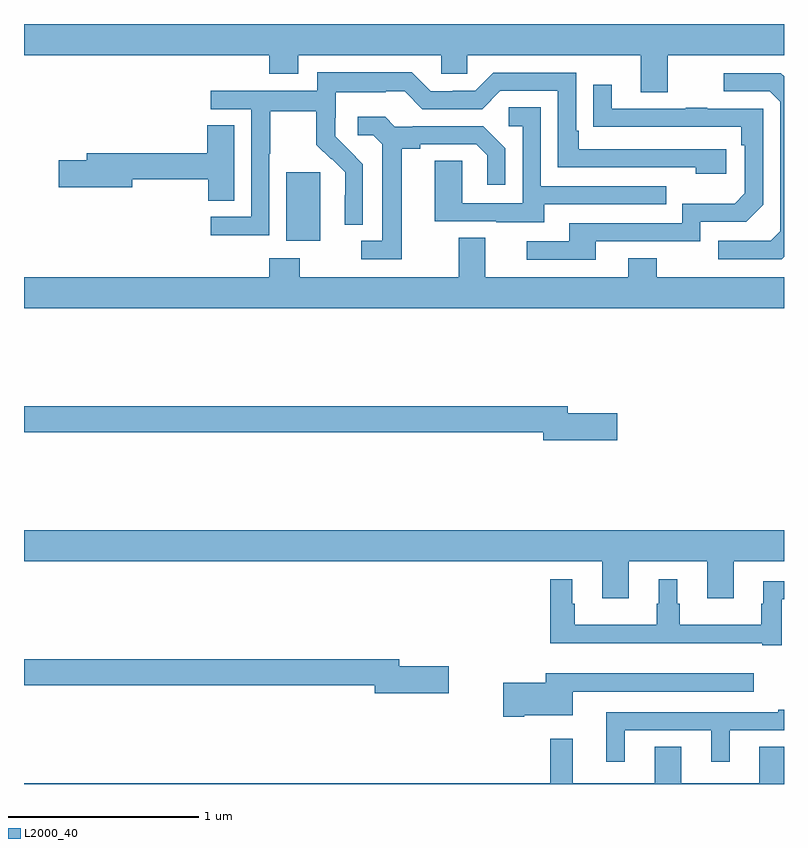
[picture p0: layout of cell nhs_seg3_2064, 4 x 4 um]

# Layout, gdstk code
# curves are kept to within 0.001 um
import gdstk
lib = gdstk.Library(unit=1e-6, precision=1e-09)
def R(c, l, rs):  # rectangles x0, y0, x1, y1
    for r in rs: c.add(gdstk.rectangle(r[:2], r[2:], *l))
def P(c, l, *ps):  # polygons
    for p in ps: c.add(gdstk.Polygon(p, *l))
L2000_40 = (2000, 40)

nhs_seg3_2064 = lib.new_cell('nhs_seg3_2064')
R(nhs_seg3_2064, L2000_40, [(218.381,713.258,218.56,713.619)])
P(nhs_seg3_2064, L2000_40, [(220.387,714.236),(221,714.236),(221,714.4),(217,714.4),(217,714.236),(218.291,714.236),(218.291,714.137),(218.443,714.137),(218.443,714.236),(219.195,714.236),(219.195,714.138),(219.333,714.138),(219.333,714.236),(220.247,714.236),(220.247,714.042),(220.387,714.042)],
  [(218.292,713.716),(218.295,713.716),(218.295,713.94),(218.539,713.94),(218.539,713.765),(218.616,713.688),(218.619,713.691),(218.69,713.621),(218.69,713.498),(218.688,713.498),(218.688,713.344),(218.784,713.344),(218.784,713.662),(218.638,713.81),(218.638,713.907),(218.64,713.907),(218.64,714.041),(218.903,714.041),(218.903,714.045),(219.003,714.045),(219.096,713.952),(219.411,713.952),(219.507,714.048),(219.81,714.048),(219.81,713.646),(220.535,713.646),(220.535,713.612),(220.696,713.612),(220.696,713.742),(219.919,713.742),(219.919,713.839),(219.906,713.839),(219.906,714.144),(219.471,714.144),(219.375,714.048),(219.257,714.048),(219.257,714.045),(219.141,714.045),(219.041,714.145),(218.544,714.145),(218.544,714.048),(217.983,714.048),(217.983,713.952),(218.196,713.952),(218.196,713.385),(217.983,713.385),(217.983,713.287),(218.292,713.287)],
  [(221,713.174),(221,714.124),(220.983,714.141),(220.683,714.141),(220.683,714.045),(220.926,714.045),(220.98,713.991),(220.98,713.31),(220.929,713.259),(220.653,713.259),(220.653,713.163),(220.989,713.163)],
  [(220.009,713.256),(220.56,713.256),(220.56,713.358),(220.8,713.358),(220.89,713.448),(220.89,713.955),(220.595,713.955),(220.595,713.96),(220.483,713.96),(220.483,713.955),(220.093,713.955),(220.093,714.079),(219.997,714.079),(219.997,713.86),(220.774,713.859),(220.774,713.762),(220.794,713.762),(220.794,713.508),(220.741,713.455),(220.464,713.455),(220.464,713.352),(219.869,713.352),(219.869,713.256),(219.645,713.256),(219.645,713.16),(220.009,713.16)],
  [(219.739,713.451),(220.379,713.451),(220.379,713.547),(219.72,713.547),(219.72,713.963),(219.552,713.963),(219.552,713.862),(219.624,713.862),(219.624,713.457),(219.306,713.457),(219.306,713.681),(219.161,713.681),(219.161,713.361),(219.485,713.361),(219.485,713.357),(219.739,713.357)],
  [(218.989,713.744),(219.085,713.744),(219.085,713.766),(219.38,713.766),(219.437,713.709),(219.437,713.553),(219.534,713.553),(219.534,713.746),(219.418,713.862),(219.046,713.862),(219.046,713.859),(218.952,713.859),(218.9,713.911),(218.757,713.911),(218.757,713.814),(218.838,713.814),(218.885,713.767),(218.885,713.259),(218.775,713.259),(218.775,713.163),(218.989,713.163)],
  [(218.107,713.867),(217.964,713.867),(217.964,713.72),(217.331,713.72),(217.331,713.684),(217.182,713.684),(217.182,713.542),(217.57,713.542),(217.57,713.584),(217.969,713.584),(217.969,713.47),(218.107,713.47)],
  [(221,713.068),(220.329,713.068),(220.329,713.167),(220.181,713.167),(220.181,713.068),(219.427,713.068),(219.427,713.276),(219.287,713.276),(219.287,713.068),(218.451,713.068),(218.451,713.167),(218.291,713.167),(218.291,713.068),(217,713.068),(217,712.904),(221,712.904)],
  [(220.123,712.352),(219.862,712.352),(219.862,712.388),(217,712.388),(217,712.252),(219.734,712.252),(219.734,712.21),(220.123,712.21)],
  [(220.183,711.572),(220.595,711.572),(220.595,711.378),(220.735,711.378),(220.735,711.572),(221,711.572),(221,711.736),(217,711.736),(217,711.572),(220.043,711.572),(220.043,711.378),(220.183,711.378)],
  [(220.989,711.372),(221,711.372),(221,711.468),(220.892,711.468),(220.892,711.35),(220.881,711.35),(220.881,711.238),(220.45,711.238),(220.45,711.35),(220.438,711.35),(220.438,711.478),(220.34,711.478),(220.34,711.35),(220.329,711.35),(220.329,711.238),(219.898,711.238),(219.898,711.35),(219.886,711.35),(219.886,711.478),(219.769,711.478),(219.769,711.14),(220.886,711.14),(220.886,711.129),(220.989,711.129)],
  [(219.235,711.02),(218.974,711.02),(218.974,711.056),(217,711.056),(217,710.92),(218.846,710.92),(218.846,710.878),(219.235,710.878)],
  [(219.634,710.762),(219.889,710.762),(219.889,710.886),(220.84,710.886),(220.84,710.983),(219.746,710.983),(219.746,710.933),(219.522,710.933),(219.522,710.755),(219.634,710.755)],
  [(220.162,710.682),(220.616,710.682),(220.616,710.517),(220.714,710.517),(220.714,710.682),(221,710.682),(221,710.791),(220.97,710.791),(220.97,710.778),(220.064,710.778),(220.064,710.517),(220.162,710.517)],
  [(221,710.597),(220.871,710.597),(220.871,710.404),(220.459,710.404),(220.459,710.597),(220.319,710.597),(220.319,710.404),(219.887,710.404),(219.887,710.638),(219.769,710.638),(219.769,710.404),(217,710.404),(217,710.4),(221,710.4)])

lib.write_gds('nhs_seg3_2064.gds')
